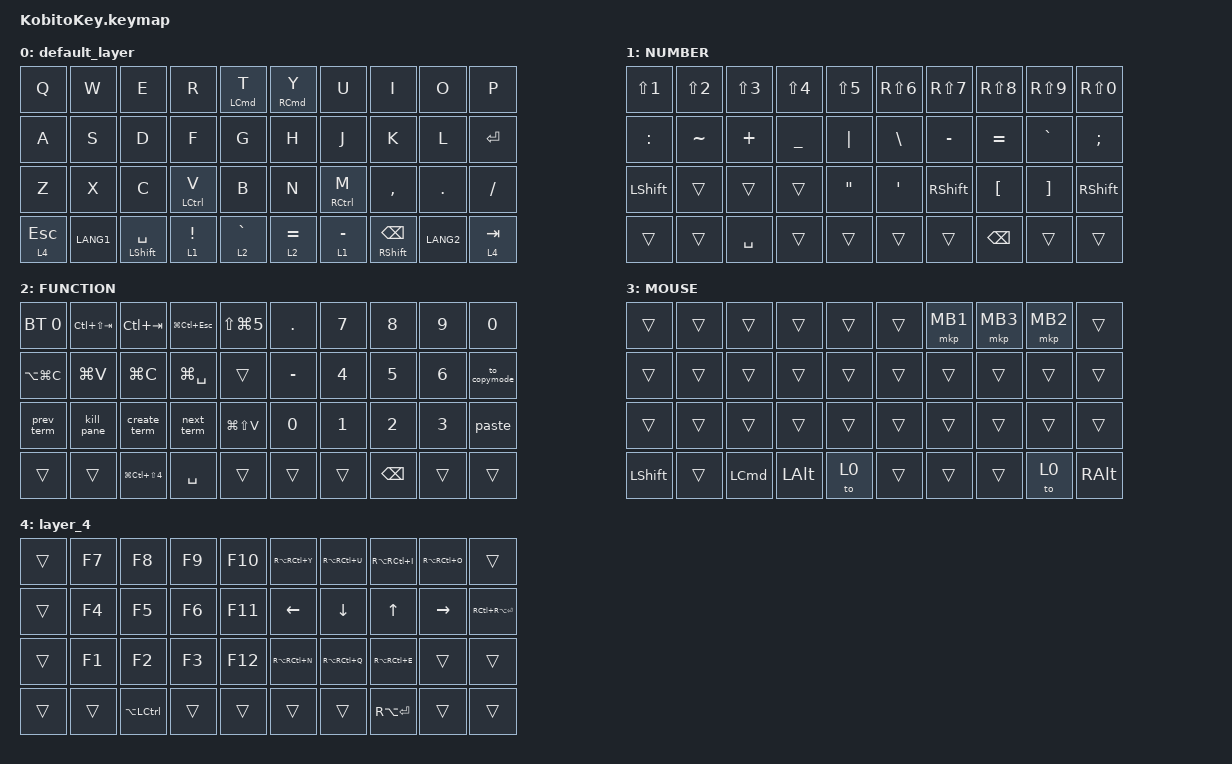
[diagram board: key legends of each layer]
#include <input/processors.dtsi>
#include <behaviors.dtsi>
#include <dt-bindings/zmk/bt.h>
#include <dt-bindings/zmk/keys.h>
#include <dt-bindings/zmk/pointing.h>

/ {
    combos {
        compatible = "zmk,combos";

        combo_esc {
            timeout-ms = <50>;
            key-positions = <22 21>;
            bindings = <&kp ESC>;
        };

        combo_tab {
            timeout-ms = <50>;
            key-positions = <11 12>;
            bindings = <&kp TAB>;
        };
    };

    macros {
        to_copymode: to_copymode {
            compatible = "zmk,behavior-macro";
            #binding-cells = <0>;
            bindings = <&kp LC(G) &kp LEFT_BRACKET>;
            label = "TO_COPYMODE";
        };

        paste: paste {
            compatible = "zmk,behavior-macro";
            #binding-cells = <0>;
            bindings = <&kp LC(G) &kp EQUAL>;
            label = "PASTE";
        };

        create_term: create_term {
            compatible = "zmk,behavior-macro";
            #binding-cells = <0>;
            bindings = <&kp LC(G) &kp C>;
            label = "CREATE_TERM";
        };

        kill_pane: kill_pane {
            compatible = "zmk,behavior-macro";
            #binding-cells = <0>;
            bindings = <&kp LC(G) &kp X>;
            label = "KILL_PANE";
        };

        next_term: next_term {
            compatible = "zmk,behavior-macro";
            #binding-cells = <0>;
            bindings = <&kp LC(G) &kp N>;
            label = "NEXT_TERM";
        };

        prev_term: prev_term {
            compatible = "zmk,behavior-macro";
            #binding-cells = <0>;
            bindings = <&kp LC(G) &kp P>;
            label = "PREV_TERM";
        };
    };

    keymap {
        compatible = "zmk,keymap";

        default_layer {
            bindings = <
&kp Q         &kp W      &kp E                 &kp R              &mt LEFT_COMMAND T  &mt RIGHT_COMMAND Y  &kp U        &kp I                &kp O      &kp P
&kp A         &kp S      &kp D                 &kp F              &kp G               &kp H                &kp J        &kp K                &kp L      &kp RETURN
&kp Z         &kp X      &kp C                 &mt LCTRL V        &kp B               &kp N                &mt RCTRL M  &kp COMMA            &kp DOT    &kp SLASH
&lt 4 ESCAPE  &kp LANG1  &mt LEFT_SHIFT SPACE  &lt 1 EXCLAMATION  &lt 2 GRAVE         &lt 2 EQUAL          &lt 1 MINUS  &mt RSHFT BACKSPACE  &kp LANG2  &lt 4 TAB
            >;
        };

        layer1 {
            label = "NUMBER";
            bindings = <
&kp LS(NUMBER_1)  &kp LS(NUMBER_2)  &kp LS(NUMBER_3)  &kp LS(NUMBER_4)  &kp LS(NUMBER_5)   &kp RS(NUMBER_6)  &kp RS(NUMBER_7)  &kp RS(NUMBER_8)  &kp RS(NUMBER_9)  &kp RS(NUMBER_0)
&kp COLON         &kp TILDE         &kp PLUS          &kp UNDERSCORE    &kp PIPE           &kp BACKSLASH     &kp MINUS         &kp EQUAL         &kp GRAVE         &kp SEMICOLON
&kp LEFT_SHIFT    &trans            &trans            &trans            &kp DOUBLE_QUOTES  &kp SINGLE_QUOTE  &kp RIGHT_SHIFT   &kp LBKT          &kp RBKT          &kp RIGHT_SHIFT
&trans            &trans            &kp SPACE         &trans            &trans             &trans            &trans            &kp BACKSPACE     &trans            &trans
            >;
        };

        layer2 {
            label = "FUNCTION";
            bindings = <
&bt BT_SEL 0   &kp LC(LS(TAB))  &kp LC(TAB)               &kp LG(LC(ESCAPE))  &kp LS(LG(NUMBER_5))  &kp PERIOD    &kp NUMBER_7  &kp NUMBER_8   &kp NUMBER_9  &kp NUMBER_0
&kp LA(LG(C))  &kp LG(V)        &kp LG(C)                 &kp LG(SPACE)       &trans                &kp MINUS     &kp NUMBER_4  &kp NUMBER_5   &kp NUMBER_6  &to_copymode
&prev_term     &kill_pane       &create_term              &next_term          &kp LG(LS(V))         &kp NUMBER_0  &kp NUMBER_1  &kp NUMBER_2   &kp NUMBER_3  &paste
&trans         &trans           &kp LG(LC(LS(NUMBER_4)))  &kp SPACE           &trans                &trans        &trans        &kp BACKSPACE  &trans        &trans
            >;
        };

        layer3 {
            label = "MOUSE";
            bindings = <
&trans     &trans  &trans    &trans    &trans  &trans  &mkp MB1  &mkp MB3  &mkp MB2  &trans
&trans     &trans  &trans    &trans    &trans  &trans  &trans    &trans    &trans    &trans
&trans     &trans  &trans    &trans    &trans  &trans  &trans    &trans    &trans    &trans
&kp LSHFT  &trans  &kp LCMD  &kp LALT  &to 0   &trans  &trans    &trans    &to 0     &kp RALT
            >;
        };

        layer_4 {
            bindings = <
&trans  &kp F7  &kp F8                &kp F9  &kp F10  &kp RA(RC(Y))  &kp RA(RC(U))  &kp RA(RC(I))   &kp RA(RC(O))  &trans
&trans  &kp F4  &kp F5                &kp F6  &kp F11  &kp LEFT       &kp DOWN       &kp UP          &kp RIGHT      &kp RC(RA(RETURN))
&trans  &kp F1  &kp F2                &kp F3  &kp F12  &kp RA(RC(N))  &kp RA(RC(Q))  &kp RA(RC(E))   &trans         &trans
&trans  &trans  &kp LA(LEFT_CONTROL)  &trans  &trans   &trans         &trans         &kp RA(RETURN)  &trans         &trans
            >;
        };
    };
};
